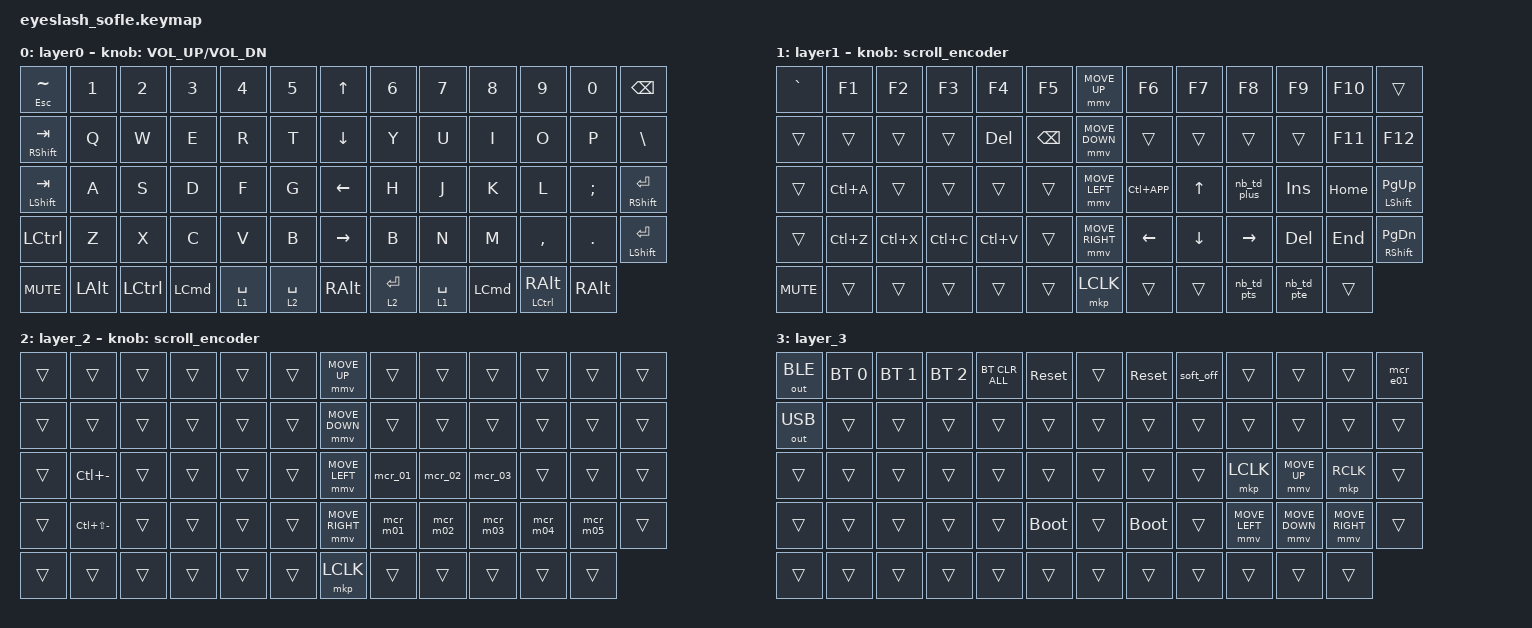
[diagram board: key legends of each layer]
#define ZMK_POINTING_DEFAULT_MOVE_VAL 1200  // 600
#define ZMK_POINTING_DEFAULT_SCRL_VAL 35    // 10

#include <input/processors.dtsi>
#include <zephyr/dt-bindings/input/input-event-codes.h>
#include <behaviors.dtsi>
#include <dt-bindings/zmk/bt.h>
#include <dt-bindings/zmk/keys.h>
#include <dt-bindings/zmk/outputs.h>
#include <dt-bindings/zmk/pointing.h>

/ {
    zip_scroll_scaler: zip_scroll_scaler {
        compatible = "zmk,input-processor-scaler";
        #input-processor-cells = <2>;
        type = <INPUT_EV_REL>;
        codes = <INPUT_REL_WHEEL INPUT_REL_HWHEEL>;
        track-remainders;
    };
};

&mmv_input_listener { input-processors = <&zip_xy_scaler 2 1>; };

&msc_input_listener { input-processors = <&zip_scroll_scaler 2 1>; };

&msc {
    acceleration-exponent = <0>;      // 0
    time-to-max-speed-ms = <0>;       // 300
    delay-ms = <0>;                   // 0
};

&mmv {
    time-to-max-speed-ms = <400>;
    acceleration-exponent = <1>;
};

/ {
    scroll_encoder: scroll_encoder {
        compatible = "zmk,behavior-sensor-rotate";
        #sensor-binding-cells = <0>;
        bindings = <&msc SCRL_DOWN>, <&msc SCRL_UP>;

        tap-ms = <30>;
    };

    nb_td_pts: nb_td_pts {
        compatible = "zmk,behavior-tap-dance";
        label = "NB_TD_PTS";
        #binding-cells = <0>;
        bindings = <&mt LEFT_BRACE LEFT_PARENTHESIS>, <&kp LEFT_BRACKET>;
    };

    nb_td_pte: nb_td_pte {
        compatible = "zmk,behavior-tap-dance";
        label = "NB_TD_PTE";
        #binding-cells = <0>;
        bindings = <&mt RIGHT_BRACE RIGHT_PARENTHESIS>, <&kp RIGHT_BRACKET>;
    };

    nb_td_plus: nb_td_plus {
        compatible = "zmk,behavior-tap-dance";
        label = "NB_TD_PLUS";
        #binding-cells = <0>;
        bindings = <&mt ASTERISK PLUS>, <&kp MINUS>;
    };

    macros {
        mcr_01: new_macro_01 {
            compatible = "zmk,behavior-macro";
            #binding-cells = <0>;
            bindings = <&kp LC(A) &kp DEL &kp J &kp J &kp N7 &kp N9 &kp N3 &kp N9 &kp N8>;
            label = "NEW_MACRO_01";
        };

        mcr_02: mcr_02 {
            compatible = "zmk,behavior-macro";
            #binding-cells = <0>;
            bindings = <&kp LC(A) &kp DEL &kp T &kp LS(E) &kp LS(S) &kp LS(T) &kp N0 &kp N5 &kp N0 &kp N2>;
            label = "MCR_02";
        };

        mcr_03: mcr_03 {
            compatible = "zmk,behavior-macro";
            #binding-cells = <0>;
            bindings = <&kp LC(A) &kp DEL &kp S &kp LS(E) &kp LS(O) &kp LS(B) &kp LS(H) &kp N0 &kp N5 &kp N0 &kp N2>;
            label = "MCR_03";
        };

        mcr_m01: mcr_m01 {
            compatible = "zmk,behavior-macro";
            #binding-cells = <0>;
            bindings = <&mcr_m01_select &mcr_m01_from &mcr_m03 &mcr_m01_where>;
            label = "MCR_M01";
        };

        mcr_m02: mcr_m02 {
            compatible = "zmk,behavior-macro";
            #binding-cells = <0>;
            bindings = <&kp COMMA &kp SQT &kp END &kp SQT &kp RIGHT>;
            label = "MCR_M02";
        };

        mcr_m03: mcr_m03 {
            compatible = "zmk,behavior-macro";
            #binding-cells = <0>;
            bindings = <&kp S &kp UNDER &kp C &kp B &kp K &kp DOT &kp B &kp C &kp C &kp UNDER>;
            label = "MCR_M03";
        };

        mcr_m04: mcr_m04 {
            compatible = "zmk,behavior-macro";
            #binding-cells = <0>;
            bindings = <&kp FSLH &kp STAR &kp SPACE>;
            label = "MCR_M04";
        };

        mcr_m05: mcr_m05 {
            compatible = "zmk,behavior-macro";
            #binding-cells = <0>;
            bindings = <&kp SPACE &kp STAR &kp FSLH>;
            label = "MCR_M05";
        };

        mcr_e01: mcr_e01 {
            compatible = "zmk,behavior-macro";
            #binding-cells = <0>;
            bindings =
                <&macro_wait_time 500>,
                <&kp RG(LA(LC(LS(C))))>,
                <&macro_wait_time 500>,
                <&mcr_e01_2>;

            label = "MCR_E01";
            wait-ms = <1>;
            tap-ms = <5>;
        };

        mcr_e01_2: mcr_e01_2 {
            compatible = "zmk,behavior-macro";
            #binding-cells = <0>;
            bindings = <&kp S &kp H &kp U &kp T &kp D &kp O &kp W &kp N &kp SPACE &kp MINUS &kp S &kp SPACE &kp MINUS &kp F &kp SPACE &kp MINUS &kp T &kp SPACE &kp N0 &kp RET>;
            label = "MCR_E01_2";
        };

        mcr_m01_select: mcr_m01_select {
            compatible = "zmk,behavior-macro";
            #binding-cells = <0>;
            bindings = <&kp S &kp E &kp L &kp E &kp C &kp T &kp SPACE &kp STAR &kp RET>;
            label = "MCR_M01_SELECT";
        };

        mcr_m01_from: mcr_m01_from {
            compatible = "zmk,behavior-macro";
            #binding-cells = <0>;
            bindings = <&kp SPACE &kp SPACE &kp F &kp R &kp O &kp M &kp SPACE>;
            label = "MCR_M01_FROM";
        };

        mcr_m01_where: mcr_m01_where {
            compatible = "zmk,behavior-macro";
            #binding-cells = <0>;
            bindings = <&kp RET &kp BACKSPACE &kp W &kp H &kp E &kp R &kp E &kp SPACE>;
            label = "MCR_M01_WHERE";
        };
    };

    behaviors {
    };

    combos {
        compatible = "zmk,combos";

        caplock_combo {
            bindings = <&kp CAPSLOCK>;
            key-positions = <39 26>;
            layers = <0>;
            require-prior-idle-ms = <200>;
        };

        slash_combo {
            bindings = <&kp SLASH>;
            key-positions = <49 50>;
            layers = <0>;
            require-prior-idle-ms = <200>;
        };

        sqt_combo {
            bindings = <&kp SQT>;
            key-positions = <36 37>;
            layers = <0>;
            require-prior-idle-ms = <200>;
        };

        minas_combo {
            bindings = <&kp LS(MINUS)>;
            key-positions = <22 23>;
            layers = <0>;
            require-prior-idle-ms = <200>;
        };

        equal_combo {
            bindings = <&kp EQUAL>;
            key-positions = <23 24>;
            layers = <0>;
            require-prior-idle-ms = <200>;
        };

        ralt_combo {
            bindings = <&kp RIGHT_ALT>;
            key-positions = <63 62>;
            layers = <0>;
            require-prior-idle-ms = <200>;
        };
    };

    keymap {
        compatible = "zmk,keymap";

        layer_0 {
            bindings = <
&mt ESC TILDE        &kp N1        &kp N2            &kp N3    &kp N4       &kp N5         &kp UP_ARROW     &kp N6       &kp N7       &kp N8    &kp N9                 &kp N0         &kp BACKSPACE
&mt RIGHT_SHIFT TAB  &kp Q         &kp W             &kp E     &kp R        &kp T          &kp DOWN_ARROW   &kp Y        &kp U        &kp I     &kp O                  &kp P          &kp BSLH
&mt LEFT_SHIFT TAB   &kp A         &kp S             &kp D     &kp F        &kp G          &kp LEFT_ARROW   &kp H        &kp J        &kp K     &kp L                  &kp SEMI       &mt RIGHT_SHIFT ENTER
&kp LEFT_CONTROL     &kp Z         &kp X             &kp C     &kp V        &kp B          &kp RIGHT_ARROW  &kp B        &kp N        &kp M     &kp COMMA              &kp DOT        &mt LEFT_SHIFT ENTER
&kp C_MUTE           &kp LEFT_ALT  &kp LEFT_CONTROL  &kp LCMD  &lt 1 SPACE  &lt 2 SPACE    &kp RIGHT_ALT    &lt 2 ENTER  &lt 1 SPACE  &kp LCMD  &mt LEFT_CONTROL RALT  &kp RIGHT_ALT
            >;

            sensor-bindings = <&inc_dec_kp C_VOLUME_UP C_VOL_DN>;
            display-name = "layer0";
        };

        layer_1 {
            bindings = <
&kp GRAVE   &kp F1     &kp F2     &kp F3     &kp F4     &kp F5           &mmv MOVE_UP     &kp F6         &kp F7    &kp F8       &kp F9      &kp F10   &trans
&trans      &trans     &trans     &trans     &kp DEL    &kp BACKSPACE    &mmv MOVE_DOWN   &trans         &trans    &trans       &trans      &kp F11   &kp F12
&trans      &kp LC(A)  &trans     &trans     &trans     &trans           &mmv MOVE_LEFT   &kp LC(K_APP)  &kp UP    &nb_td_plus  &kp INS     &kp HOME  &mt LEFT_SHIFT PAGE_UP
&trans      &kp LC(Z)  &kp LC(X)  &kp LC(C)  &kp LC(V)  &trans           &mmv MOVE_RIGHT  &kp LEFT       &kp DOWN  &kp RIGHT    &kp DELETE  &kp END   &mt RIGHT_SHIFT PAGE_DOWN
&kp C_MUTE  &trans     &trans     &trans     &trans     &trans           &mkp LCLK        &trans         &trans    &nb_td_pts   &nb_td_pte  &trans
            >;

            display-name = "layer1";
            sensor-bindings = <&scroll_encoder>;
        };

        layer_2 {
            bindings = <
&trans  &trans             &trans  &trans  &trans  &trans    &mmv MOVE_UP     &trans    &trans    &trans    &trans    &trans    &trans
&trans  &trans             &trans  &trans  &trans  &trans    &mmv MOVE_DOWN   &trans    &trans    &trans    &trans    &trans    &trans
&trans  &kp LC(MINUS)      &trans  &trans  &trans  &trans    &mmv MOVE_LEFT   &mcr_01   &mcr_02   &mcr_03   &trans    &trans    &trans
&trans  &kp LC(LS(MINUS))  &trans  &trans  &trans  &trans    &mmv MOVE_RIGHT  &mcr_m01  &mcr_m02  &mcr_m03  &mcr_m04  &mcr_m05  &trans
&trans  &trans             &trans  &trans  &trans  &trans    &mkp LCLK        &trans    &trans    &trans    &trans    &trans
            >;

            sensor-bindings = <&scroll_encoder>;
        };

        layer_3 {
            bindings = <
&out OUT_BLE  &bt BT_SEL 0  &bt BT_SEL 1  &bt BT_SEL 2  &bt BT_CLR_ALL  &sys_reset     &trans  &sys_reset   &soft_off  &trans          &trans          &trans           &mcr_e01
&out OUT_USB  &trans        &trans        &trans        &trans          &trans         &trans  &trans       &trans     &trans          &trans          &trans           &trans
&trans        &trans        &trans        &trans        &trans          &trans         &trans  &trans       &trans     &mkp LCLK       &mmv MOVE_UP    &mkp RCLK        &trans
&trans        &trans        &trans        &trans        &trans          &bootloader    &trans  &bootloader  &trans     &mmv MOVE_LEFT  &mmv MOVE_DOWN  &mmv MOVE_RIGHT  &trans
&trans        &trans        &trans        &trans        &trans          &trans         &trans  &trans       &trans     &trans          &trans          &trans
            >;
        };
    };

    conditional_layers {
        compatible = "zmk,conditional-layers";

        test1 {
            if-layers = <1 2>;
            then-layer = <3>;
        };
    };
};
